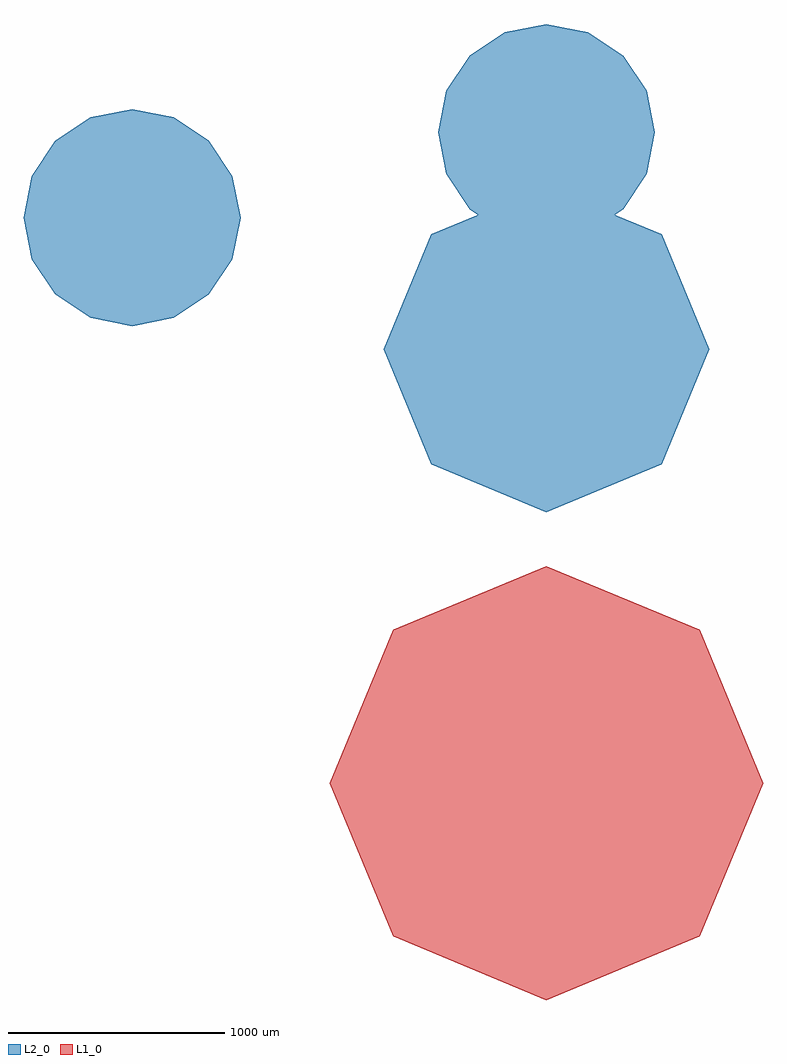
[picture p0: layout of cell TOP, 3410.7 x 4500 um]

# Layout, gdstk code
import gdstk
lib = gdstk.Library(unit=1e-6, precision=1e-09)
def P(c, l, *ps):  # polygons
    for p in ps: c.add(gdstk.Polygon(p, *l))
L1_0 = (1, 0)
L2_0 = (2, 0)

circle = lib.new_cell('Circle')
P(circle, L1_0, [(0,-1000),(-707.107,-707.107),(707.107,-707.107)],
  [(-707.107,-707.107),(-1000,0),(1000,0),(707.107,-707.107)],
  [(-1000,0),(-707.107,707.107),(707.107,707.107),(1000,0)],
  [(-707.107,707.107),(0,1000),(707.107,707.107)])

circle_1 = lib.new_cell('Circle$1')
P(circle_1, L2_0, [(0,-750),(-530.33,-530.33),(530.33,-530.33)],
  [(-530.33,-530.33),(-750,0),(750,0),(530.33,-530.33)],
  [(-750,0),(-530.33,530.33),(530.33,530.33),(750,0)],
  [(-530.33,530.33),(0,750),(530.33,530.33)])

circle_2 = lib.new_cell('Circle$2')
P(circle_2, L2_0, [(0,-500),(0,-353.553),(353.553,-353.553),(191.342,-461.94)],
  [(0,-500),(-191.342,-461.94),(-353.553,-353.553),(0,-353.553)],
  [(-353.553,-353.553),(-461.94,-191.342),(461.94,-191.342),(353.553,-353.553)],
  [(-461.94,-191.342),(-500,0),(500,0),(461.94,-191.342)],
  [(-500,0),(-461.94,191.342),(461.94,191.342),(500,0)],
  [(-461.94,191.342),(-353.553,353.553),(353.553,353.553),(461.94,191.342)],
  [(0,353.553),(0,500),(191.342,461.94),(353.553,353.553)],
  [(-353.553,353.553),(-191.342,461.94),(0,500),(0,353.553)])

top = lib.new_cell('TOP')
top.add(gdstk.Reference(circle, (0,0)))
top.add(gdstk.Reference(circle_1, (0,2000)))
top.add(gdstk.Reference(circle_2, (0,3000)))
top.add(gdstk.Reference(circle_2, (-1910.7,2607.3)))

lib.write_gds('TOP.gds')
